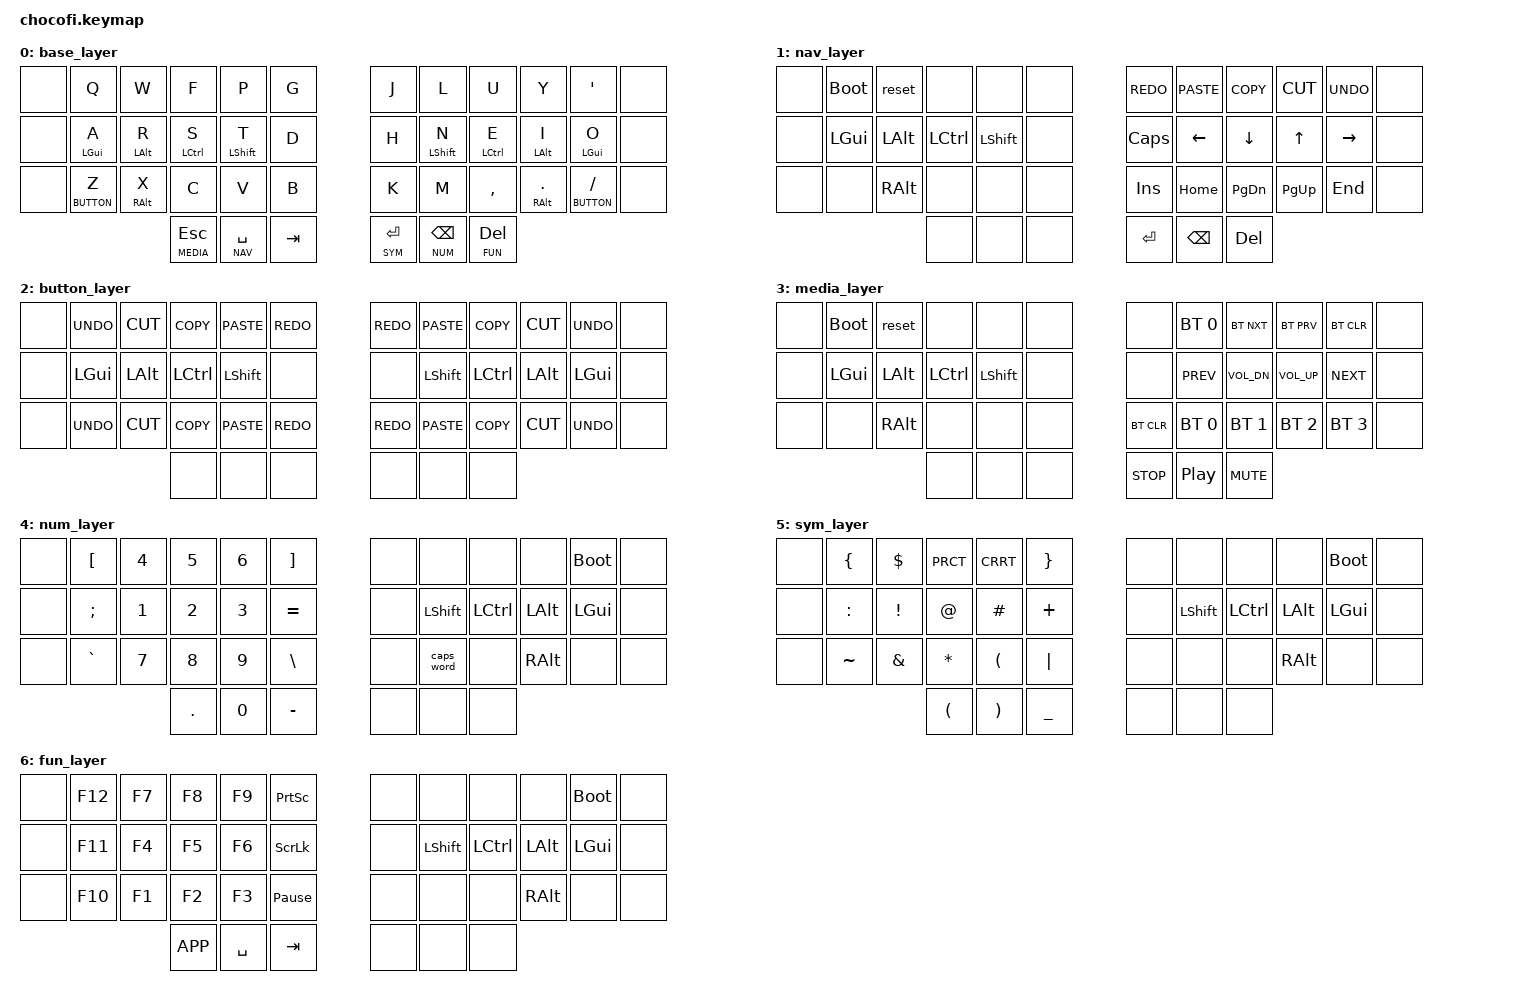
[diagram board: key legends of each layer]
#include <behaviors.dtsi>
#include <dt-bindings/zmk/keys.h>
#include <dt-bindings/zmk/bt.h>

#define BASE 0
#define NAV 1
#define BUTTON 2
#define MEDIA 3
#define NUM 4
#define SYM 5
#define FUN 6

#define U_BTN1 &none
#define U_BTN2 &none
#define U_BTN3 &none

&lt {
        tapping-term-ms = <200>;    // <---[[moderate duration]]
        flavor = "balanced";
};

/ {
        behaviors {
                rh_pht: right_hand_positional_hold_tap {
                        compatible = "zmk,behavior-hold-tap";
                        label = "RIGHT_POSITIONAL_HOLD_TAP";
                        #binding-cells = <2>;
                        flavor = "tap-preferred";
                        tapping-term-ms = <200>;                        // <---[[produces tap if held longer than tapping-term-ms]]
                        bindings = <&kp>, <&kp>;
                        hold-trigger-key-positions = <0 1 2 3 4 5 12 13 14 15 16 17 24 25 26 27 28 29 36 37 38>;    // <---[[left-hand keys]]
                };
                lh_pht: left_hand_positional_hold_tap {
                        compatible = "zmk,behavior-hold-tap";
                        label = "LEFT_POSITIONAL_HOLD_TAP";
                        #binding-cells = <2>;
                        flavor = "tap-preferred";
                        tapping-term-ms = <200>;                        // <---[[produces tap if held longer than tapping-term-ms]]
                        bindings = <&kp>, <&kp>;
                        hold-trigger-key-positions = <6 7 8 9 10 11 18 19 20 21 22 23 30 31 32 33 34 35 39 40 41>;    // <---[[right-hand keys]]
                };
                rh_bal: right_hand_permissive_hold {
                        compatible = "zmk,behavior-hold-tap";
                        label = "RIGHT_PERMISSIVE_HOLD_TAP";
                        #binding-cells = <2>;
                        tapping-term-ms = <200>;    // <---[[moderate duration]]
                        flavor = "balanced";
                        bindings = <&kp>, <&kp>;
                        hold-trigger-key-positions = <0 1 2 3 4 5 12 13 14 15 16 17 24 25 26 27 28 29 36 37 38>;    // <---[[left-hand keys]]
                };
                lh_bal: left_hand_permissive_hold {
                        compatible = "zmk,behavior-hold-tap";
                        label = "LEFT_PERMISSIVE_HOLD_TAP";
                        #binding-cells = <2>;
                        tapping-term-ms = <200>;    // <---[[moderate duration]]
                        flavor = "balanced";
                        bindings = <&kp>, <&kp>;
                        hold-trigger-key-positions = <6 7 8 9 10 11 18 19 20 21 22 23 30 31 32 33 34 35 39 40 41>;    // <---[[right-hand keys]]
                };
        };

        keymap {
                compatible = "zmk,keymap";

                base_layer {
                        bindings = <
&none     &kp Q             &kp W             &kp F             &kp P             &kp G             &kp J             &kp L             &kp U             &kp Y             &kp SQT           &none
&none     &lh_pht LGUI A        &lh_pht LALT R        &lh_pht LCTRL S       &lh_bal LSHFT T       &kp D             &kp H             &rh_bal LSHFT N       &rh_pht LCTRL E       &rh_pht LALT I        &rh_pht LGUI O        &none
&none     &lh_pht BUTTON Z      &lh_pht RALT X        &kp C             &kp V             &kp B             &kp K             &kp M             &kp COMMA         &rh_pht RALT DOT      &rh_pht BUTTON SLASH  &none
                                    &lt MEDIA ESC     &lt NAV SPC       &kp TAB     &lt SYM RET       &lt NUM BSPC      &lt FUN DEL       

                        >;
                };
                nav_layer {
                        bindings = <
&none     &bootloader       &reset              &none              &none              &none              &kp K_REDO             &kp K_PASTE             &kp K_COPY             &kp K_CUT             &kp K_UNDO          &none   
&none     &kp LGUI          &kp LALT          &kp LCTRL         &kp LSHFT         &none              &kp CAPS          &kp LEFT          &kp DOWN          &kp UP            &kp RIGHT      &none   
&none     &none              &kp RALT          &none              &none              &none              &kp INS           &kp HOME          &kp PG_DN         &kp PG_UP         &kp END        &none   
                                    &none              &none              &none              &kp RET           &kp BSPC          &kp DEL           


                        >;
                };
                button_layer {
                        bindings = <
&none     &kp K_UNDO             &kp K_CUT             &kp K_COPY             &kp K_PASTE             &kp K_REDO             &kp K_REDO             &kp K_PASTE             &kp K_COPY             &kp K_CUT             &kp K_UNDO             &none
&none     &kp LGUI          &kp LALT          &kp LCTRL         &kp LSHFT         &none             &none             &kp LSHFT         &kp LCTRL         &kp LALT          &kp LGUI          &none
&none     &kp K_UNDO             &kp K_CUT             &kp K_COPY             &kp K_PASTE             &kp K_REDO             &kp K_REDO             &kp K_PASTE             &kp K_COPY             &kp K_CUT             &kp K_UNDO             &none
                                    U_BTN2            U_BTN3            U_BTN1            U_BTN1            U_BTN3            U_BTN2            
                        >;
                };
                media_layer {
                        bindings = <
&none     &bootloader       &reset              &none              &none              &none              &none &bt BT_SEL 0 &bt BT_NXT &bt BT_PRV &bt BT_CLR   &none
&none     &kp LGUI          &kp LALT          &kp LCTRL         &kp LSHFT         &none              &none      &kp C_PREV        &kp C_VOL_DN      &kp C_VOL_UP      &kp C_NEXT        &none
&none     &none             &kp RALT          &none              &none              &none              &bt BT_CLR        &bt BT_SEL 0      &bt BT_SEL 1      &bt BT_SEL 2      &bt BT_SEL 3      &none
                                    &none              &none              &none              &kp C_STOP        &kp C_PP          &kp C_MUTE        

                        >;
                };
                num_layer {
                        bindings = <
&none     &kp LBKT          &kp NUM_4         &kp NUM_5         &kp NUM_6         &kp RBKT          &none              &none              &none              &none              &bootloader       &none
&none     &kp SEMI          &kp NUM_1         &kp NUM_2         &kp NUM_3         &kp EQL           &none              &kp LSHFT         &kp LCTRL         &kp LALT          &kp LGUI          &none
&none     &kp GRAVE         &kp NUM_7         &kp NUM_8         &kp NUM_9         &kp BSLH          &none              &caps_word              &none              &kp RALT          &none              &none
                                                &kp DOT           &kp NUM_0         &kp MINUS         &none              &none              &none

                        >;
                };
                sym_layer {
                        bindings = <
&none     &kp LBRC          &kp DLLR          &kp PRCT          &kp CRRT          &kp RBRC          &none              &none              &none              &none              &bootloader       &none
&none     &kp COLON         &kp EXCL          &kp AT            &kp HASH          &kp PLUS          &none              &kp LSHFT         &kp LCTRL         &kp LALT          &kp LGUI          &none
&none     &kp TILDE         &kp AMPS          &kp ASTRK         &kp LPAR          &kp PIPE          &none              &none              &none              &kp RALT          &none              &none
                                    &kp LPAR          &kp RPAR          &kp UNDER         &none              &none              &none              


                        >;
                };
                fun_layer {
                        bindings = <
&none     &kp F12           &kp F7            &kp F8            &kp F9            &kp PSCRN         &none              &none              &none              &none              &bootloader       &none
&none     &kp F11           &kp F4            &kp F5            &kp F6            &kp SLCK          &none              &kp LSHFT         &kp LCTRL         &kp LALT          &kp LGUI          &none
&none     &kp F10           &kp F1            &kp F2            &kp F3            &kp PAUSE_BREAK   &none              &none              &none              &kp RALT          &none              &none
                                    &kp K_APP         &kp SPC           &kp TAB           &none              &none              &none              

                        >;
                };
        };
};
